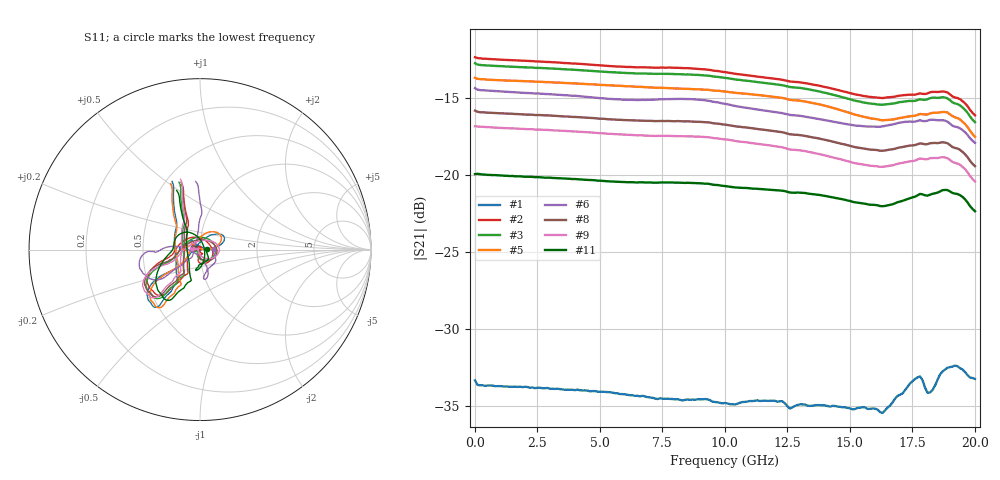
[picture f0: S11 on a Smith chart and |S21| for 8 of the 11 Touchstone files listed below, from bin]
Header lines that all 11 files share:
! Hittite Microwave Corporation
! 2 Elizabeth Drive
! Chelmsford, MA 01824
! http://www.hittite.com
! Tel: 978-250-3343
! Fax: 978-250-3373
! Device:  HMC424LP3
! Description: 0.5 dB GaAs MMIC 6-Bit Digital Attenuator
! Frequency:  DC -  13.00 GHz
! Package:  LP3  - 3x3 mm Quad Flatpack No-Lead (QFN) Plastic Package: 16 pin
! Ports:  2 RF, 7 DC
!  Pad  1  = Ground
!  Pad  3  = Ground
!  Pad  4  = V6
!  Pad  5  = V5
!  Pad  6  = V4
!  Pad  7  = V3
!  Pad  8  = V2
!  Pad  9  = V1
!  Pad 10  = Ground
!  Pad 11  = RF OUT  = Port 2
!  Pad 12  = Ground
!  Pad 15  = VEE
! Control:  -5 Volt control voltage
# GHz S MA R 50
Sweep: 10 MHz to 20.01 GHz
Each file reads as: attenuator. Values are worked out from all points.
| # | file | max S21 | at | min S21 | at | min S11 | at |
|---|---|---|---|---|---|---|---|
| 1 | a (1).s2p | -32.37 dB | 19.21 GHz | -35.4 dB | 16.31 GHz | -35.4 dB | 5.31 GHz |
| 2 | a (22).s2p | -12.37 dB | 10 MHz | -16.1 dB | 20.01 GHz | -41.0 dB | 310 MHz |
| 3 | a (23).s2p | -12.76 dB | 10 MHz | -16.6 dB | 20.01 GHz | -42.2 dB | 2.51 GHz |
| 4 | a (24).s2p | -13.27 dB | 10 MHz | -17.1 dB | 20.01 GHz | -37.3 dB | 5.41 GHz |
| 5 | a (25).s2p | -13.70 dB | 10 MHz | -17.5 dB | 20.01 GHz | -46.4 dB | 5.41 GHz |
| 6 | a (26).s2p | -14.38 dB | 10 MHz | -17.9 dB | 20.01 GHz | -29.2 dB | 8.71 GHz |
| 7 | a (27).s2p | -14.88 dB | 10 MHz | -18.4 dB | 20.01 GHz | -43.5 dB | 8.81 GHz |
| 8 | a (29).s2p | -15.83 dB | 10 MHz | -19.4 dB | 20.01 GHz | -47.8 dB | 2.11 GHz |
| 9 | a (31).s2p | -16.85 dB | 10 MHz | -20.4 dB | 20.01 GHz | -40.4 dB | 3.31 GHz |
| 10 | a (33).s2p | -17.74 dB | 10 MHz | -21.4 dB | 20.01 GHz | -35.5 dB | 5.31 GHz |
| 11 | a (37).s2p | -19.93 dB | 110 MHz | -22.4 dB | 20.01 GHz | -31.9 dB | 7.91 GHz |
